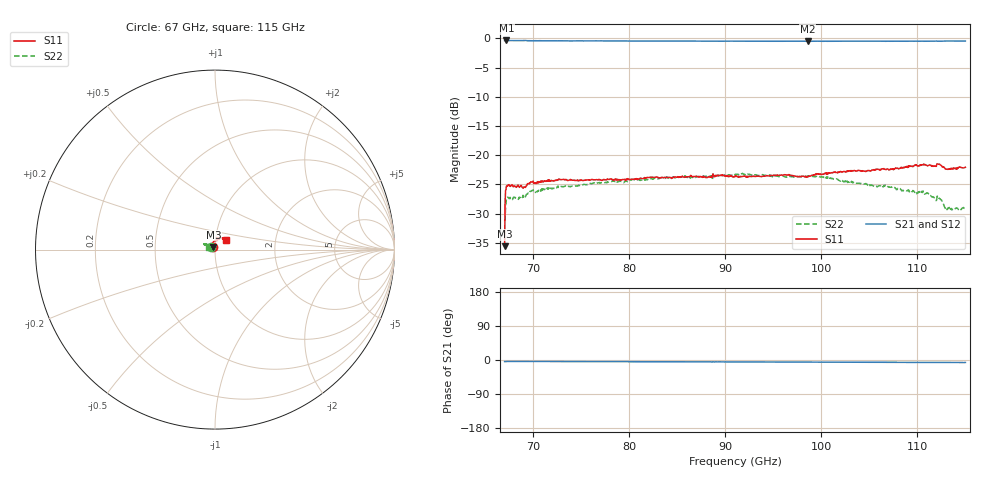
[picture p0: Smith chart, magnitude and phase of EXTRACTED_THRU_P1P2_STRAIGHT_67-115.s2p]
! Generated by Phase I extraction
# Hz S RI R 50
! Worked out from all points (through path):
!   1001 points, 67 GHz to 115 GHz, reference 50 ohm
!   highest |S21| = -0.36 dB at 67.19 GHz (marker M1); lowest = -0.5 dB at 98.58 GHz (marker M2)
!   lowest |S11| = -35.6 dB at 67 GHz (marker M3), VSWR 1.03, Z = 49.1 + j1.38 ohm
!   |S11| at or under -10 dB: start of sweep to end of sweep
!   |S22| runs from -31.3 to -23.1 dB; largest |S21 - S12| = 0.01
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6.7e10  -0.00897 0.014  0.9524 -0.0698  0.9576 -0.0622  -0.0241 0.0128
6.7192e10  0.0123 0.0531  0.9578 -0.0637  0.9576 -0.0615  -0.0358 0.0234
6.7288e10  0.0114 0.053  0.9578 -0.0631  0.958 -0.0619  -0.0367 0.0236
6.7432e10  0.0128 0.0544  0.9559 -0.0639  0.9564 -0.0618  -0.0364 0.0225
6.892e10  0.0114 0.0509  0.9554 -0.0671  0.9567 -0.0656  -0.0394 0.0225
6.9784e10  0.0121 0.0579  0.9521 -0.0645  0.9531 -0.0642  -0.042 0.0258
7.0264e10  0.0118 0.056  0.9529 -0.0654  0.954 -0.0649  -0.0413 0.0252
7.2856e10  0.011 0.0607  0.9512 -0.0677  0.9519 -0.0656  -0.0463 0.028
7.5016e10  0.0143 0.0596  0.9496 -0.0693  0.9508 -0.0674  -0.0467 0.0287
8.3032e10  0.0146 0.0627  0.945 -0.0755  0.9465 -0.0732  -0.055 0.0302
9.1e10  0.0169 0.0642  0.943 -0.0849  0.9446 -0.082  -0.061 0.0301
9.6376e10  0.0243 0.0632  0.9423 -0.0891  0.9435 -0.0872  -0.0578 0.0297
9.8584e10  0.0231 0.0609  0.9389 -0.0918  0.9407 -0.0898  -0.0591 0.0303
9.9016e10  0.0249 0.0626  0.9408 -0.0915  0.9423 -0.0901  -0.0583 0.0303
1.02952e11  0.033 0.0656  0.9414 -0.0964  0.9431 -0.0935  -0.053 0.0266
1.07032e11  0.0437 0.0608  0.9398 -0.1005  0.9404 -0.0979  -0.0465 0.0268
1.11112e11  0.0528 0.062  0.9398 -0.1061  0.9406 -0.1032  -0.0429 0.0198
1.11784e11  0.0542 0.0603  0.9407 -0.1077  0.9419 -0.1039  -0.0392 0.0175
1.12312e11  0.0585 0.06  0.941 -0.1068  0.9402 -0.1044  -0.0378 0.0195
1.12888e11  0.0553 0.0531  0.9428 -0.1085  0.9444 -0.1061  -0.0318 0.0148
1.13128e11  0.0551 0.0524  0.9424 -0.11  0.9429 -0.1063  -0.0319 0.0145
1.15e11  0.0589 0.0525  0.9426 -0.1091  0.9432 -0.1073  -0.0311 0.0159
